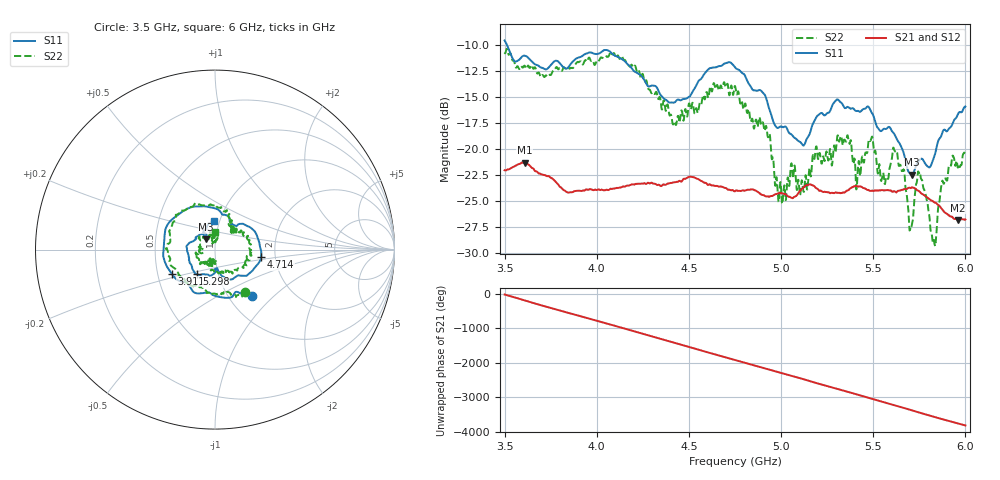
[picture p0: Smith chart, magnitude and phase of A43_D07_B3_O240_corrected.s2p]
! Created with skrf 1.9.0 (http://scikit-rf.org).
# Hz S RI R 50.0
!freq ReS11 ImS11 ReS21 ImS21 ReS12 ImS12 ReS22 ImS22
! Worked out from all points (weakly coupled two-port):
!   1601 points, 3.5 GHz to 6 GHz, reference 50 ohm
!   highest |S21| = -21.31 dB at 3.609 GHz (marker M1); lowest = -26.8 dB at 5.959 GHz (marker M2)
!   lowest |S11| = -22.5 dB at 5.711 GHz (marker M3), VSWR 1.16, Z = 45.1 + j5.2 ohm
!   |S11| at or under -10 dB: 3.513 GHz to end of sweep
!   |S22| runs from -29.4 to -10.4 dB; largest |S21 - S12| = 0.00095
!   S11 on the Smith chart (normalised r, x): 3.5 GHz: 1.27, -0.75; 3.911 GHz: 0.59, -0.17; 4.714 GHz: 1.69, -0.15; 5.298 GHz: 0.79, -0.22; 6 GHz: 0.94, +0.31
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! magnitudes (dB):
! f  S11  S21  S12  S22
! 3.5 GHz  -9.6  -22.1  -22.0  -10.7
! 3.609 GHz  -11.0  -21.3  -21.3  -12.0
! 3.911 GHz  -11.2  -24.0  -24.0  -11.6
! 3.917 GHz  -11.1  -24.1  -24.0  -11.6
! 4.334 GHz  -14.4  -23.5  -23.4  -15.2
! 4.422 GHz  -15.5  -23.2  -23.2  -17.4
! 4.714 GHz  -11.7  -23.9  -23.9  -14.2
! 4.75 GHz  -12.2  -24.1  -24.0  -14.0
! 4.928 GHz  -15.7  -24.6  -24.5  -18.9
! 4.997 GHz  -17.9  -24.3  -24.2  -23.2
! 5.167 GHz  -17.8  -23.5  -23.4  -21.5
! 5.298 GHz  -15.3  -24.2  -24.2  -19.9
! 5.417 GHz  -16.3  -23.6  -23.7  -21.8
! 5.487 GHz  -16.4  -24.0  -24.0  -19.1
! 5.584 GHz  -17.9  -24.0  -24.0  -22.5
! 5.62 GHz  -18.8  -24.1  -24.2  -20.3
! 5.711 GHz  -22.5  -23.7  -23.7  -27.2
! 5.753 GHz  -21.0  -24.1  -24.1  -22.3
! 5.831 GHz  -20.7  -25.1  -25.1  -29.0
! 5.877 GHz  -18.4  -25.9  -25.8  -23.1
! 5.959 GHz  -16.7  -26.8  -26.8  -21.8
! 6 GHz  -15.9  -26.8  -26.8  -20.1
